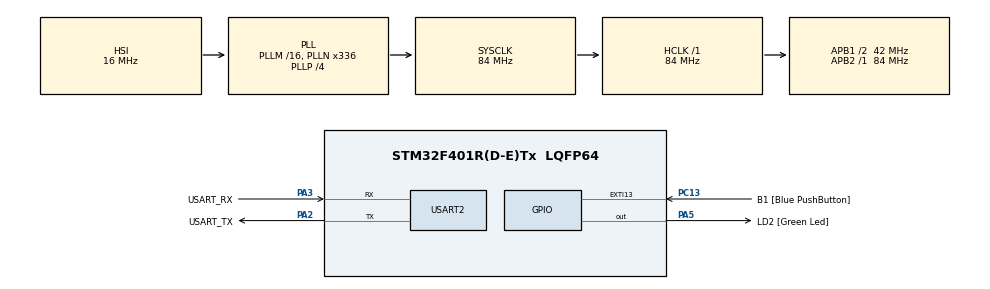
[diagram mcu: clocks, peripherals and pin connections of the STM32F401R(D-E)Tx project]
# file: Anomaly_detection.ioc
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Mcu.Family=STM32F4
Mcu.Name=STM32F401R(D-E)Tx
Mcu.Package=LQFP64
NVIC.PriorityGroup=NVIC_PRIORITYGROUP_0
PA13.GPIO_Label=TMS
PA13.Mode=Serial_Wire
PA13.Signal=SYS_JTMS-SWDIO
PA14.GPIO_Label=TCK
PA14.Mode=Serial_Wire
PA14.Signal=SYS_JTCK-SWCLK
PA2.GPIO_Label=USART_TX
PA2.GPIO_Mode=GPIO_MODE_AF_PP
PA2.GPIO_PuPd=GPIO_NOPULL
PA2.GPIO_Speed=GPIO_SPEED_FREQ_LOW
PA2.Mode=Asynchronous
PA2.Signal=USART2_TX
PA3.GPIO_Label=USART_RX
PA3.GPIO_Mode=GPIO_MODE_AF_PP
PA3.GPIO_PuPd=GPIO_NOPULL
PA3.GPIO_Speed=GPIO_SPEED_FREQ_LOW
PA3.Mode=Asynchronous
PA3.Signal=USART2_RX
PA5.GPIO_Label=LD2 [Green Led]
PA5.GPIO_Mode=GPIO_MODE_OUTPUT_PP
PA5.GPIO_PuPd=GPIO_NOPULL
PA5.GPIO_Speed=GPIO_SPEED_FREQ_LOW
PA5.Signal=GPIO_Output
PB3.GPIO_Label=SWO
PB3.Signal=SYS_JTDO-SWO
PC13-ANTI_TAMP.GPIO_Label=B1 [Blue PushButton]
PC13-ANTI_TAMP.GPIO_ModeDefaultEXTI=GPIO_MODE_IT_FALLING
PC13-ANTI_TAMP.GPIO_PuPd=GPIO_NOPULL
PC13-ANTI_TAMP.Signal=GPXTI13
PC14-OSC32_IN.Mode=LSE-External-Oscillator
PC14-OSC32_IN.Signal=RCC_OSC32_IN
PC15-OSC32_OUT.Mode=LSE-External-Oscillator
PC15-OSC32_OUT.Signal=RCC_OSC32_OUT
PH0\ -\ OSC_IN.Mode=HSE-External-Clock-Source
PH0\ -\ OSC_IN.Signal=RCC_OSC_IN
PH1\ -\ OSC_OUT.Mode=HSE-External-Clock-Source
PH1\ -\ OSC_OUT.Signal=RCC_OSC_OUT
ProjectManager.HeapSize=0x200
ProjectManager.StackSize=0x800
ProjectManager.TargetToolchain=STM32CubeIDE
RCC.48MHZClocksFreq_Value=48000000
RCC.AHBFreq_Value=84000000
RCC.APB1CLKDivider=RCC_HCLK_DIV2
RCC.APB1Freq_Value=42000000
RCC.APB1TimFreq_Value=84000000
RCC.APB2Freq_Value=84000000
RCC.APB2TimFreq_Value=84000000
RCC.CortexFreq_Value=84000000
RCC.HCLKFreq_Value=84000000
RCC.HSE_VALUE=8000000
RCC.HSI_VALUE=16000000
RCC.PLLN=336
RCC.PLLP=RCC_PLLP_DIV4
RCC.PLLQ=7
RCC.SYSCLKFreq_VALUE=84000000
RCC.SYSCLKSource=RCC_SYSCLKSOURCE_PLLCLK
RCC.VCOOutputFreq_Value=336000000
STMicroelectronics.X-CUBE-AI.5.2.0.ActivationBufferSizeList=1852
STMicroelectronics.X-CUBE-AI.5.2.0.ApplicationCcArtificialOoIntelligenceJjApplication=SystemPerformance
STMicroelectronics.X-CUBE-AI.5.2.0.BSP.number=1
STMicroelectronics.X-CUBE-AI.5.2.0.HeapSize=0x200
STMicroelectronics.X-CUBE-AI.5.2.0.InternalRamActivationBufferMaxSize=AI_ANOMALY_DETECTION_DATA_ACTIVATIONS_SIZE
STMicroelectronics.X-CUBE-AI.5.2.0.LatestDirectoryUsed-6243a9f9f6e617348e6f7ee6339f6cb630602b1dfc26b6ff4e4b7e315416e31a=/home/mahdi/ML_Exercice
STMicroelectronics.X-CUBE-AI.5.2.0.MaximumNumberOfInputLayer=1
STMicroelectronics.X-CUBE-AI.5.2.0.MaximumNumberOfOutputLayer=1
STMicroelectronics.X-CUBE-AI.5.2.0.MaximumSizeOfInputLayer=AI_ANOMALY_DETECTION_IN_1_SIZE_BYTES
STMicroelectronics.X-CUBE-AI.5.2.0.MaximumSizeOfOutputLayer=AI_ANOMALY_DETECTION_OUT_1_SIZE_BYTES
STMicroelectronics.X-CUBE-AI.5.2.0.ModelActualCompression-6243a9f9f6e617348e6f7ee6339f6cb630602b1dfc26b6ff4e4b7e315416e31a=0.0
STMicroelectronics.X-CUBE-AI.5.2.0.ModelCompression-6243a9f9f6e617348e6f7ee6339f6cb630602b1dfc26b6ff4e4b7e315416e31a=1
STMicroelectronics.X-CUBE-AI.5.2.0.ModelFlashOccupation-6243a9f9f6e617348e6f7ee6339f6cb630602b1dfc26b6ff4e4b7e315416e31a=182276
STMicroelectronics.X-CUBE-AI.5.2.0.ModelHashList=6243a9f9f6e617348e6f7ee6339f6cb630602b1dfc26b6ff4e4b7e315416e31a
STMicroelectronics.X-CUBE-AI.5.2.0.ModelKind-6243a9f9f6e617348e6f7ee6339f6cb630602b1dfc26b6ff4e4b7e315416e31a=KERAS
STMicroelectronics.X-CUBE-AI.5.2.0.ModelMacc-6243a9f9f6e617348e6f7ee6339f6cb630602b1dfc26b6ff4e4b7e315416e31a=45568
STMicroelectronics.X-CUBE-AI.5.2.0.ModelName-6243a9f9f6e617348e6f7ee6339f6cb630602b1dfc26b6ff4e4b7e315416e31a=anomaly_detection
STMicroelectronics.X-CUBE-AI.5.2.0.ModelNameList=anomaly_detection
STMicroelectronics.X-CUBE-AI.5.2.0.ModelRamOccupation-6243a9f9f6e617348e6f7ee6339f6cb630602b1dfc26b6ff4e4b7e315416e31a=1852
STMicroelectronics.X-CUBE-AI.5.2.0.ModelStructureFile-6243a9f9f6e617348e6f7ee6339f6cb630602b1dfc26b6ff4e4b7e315416e31a=/home/mahdi/ML_Exercice/model_fc.h5
STMicroelectronics.X-CUBE-AI.5.2.0.ModelType-6243a9f9f6e617348e6f7ee6339f6cb630602b1dfc26b6ff4e4b7e315416e31a=Saved model
STMicroelectronics.X-CUBE-AI.5.2.0.StackSize=0x800
STMicroelectronics.X-CUBE-AI.5.2.0.WorkingBufferStartAddrList=0xFFFFFFFF
STMicroelectronics.X-CUBE-AI.5.2.0.XAaCUBEAaAICcArtificialOoIntelligenceJjCore=true
STMicroelectronics.X-CUBE-AI.5.2.00.BSP.STBoard=false
STMicroelectronics.X-CUBE-AI.5.2.00.BSP.api=Unknown
STMicroelectronics.X-CUBE-AI.5.2.00.BSP.condition=\!SEMArtificialOoIntelligenceJjApplicationJjApplicationTemplate
STMicroelectronics.X-CUBE-AI.5.2.00.BSP.i2caddr=-1
STMicroelectronics.X-CUBE-AI.5.2.00.BSP.instance=USART2
STMicroelectronics.X-CUBE-AI.5.2.00.BSP.ip=USART
STMicroelectronics.X-CUBE-AI.5.2.00.BSP.mode=Asynchronous
STMicroelectronics.X-CUBE-AI.5.2.00.BSP.name=COM Port
STMicroelectronics.X-CUBE-AI.5.2.00.BSP.solution=USART2
USART2.VirtualMode=VM_ASYNC
VP_CRC_VS_CRC.Mode=CRC_Activate
VP_STMicroelectronics.X-CUBE-AI_VS_ArtificialOoIntelligenceJjApplication_5.2.0.Mode=ArtificialOoIntelligenceJjApplication
VP_STMicroelectronics.X-CUBE-AI_VS_ArtificialOoIntelligenceJjXAaCUBEAaAI_5.2.0.Mode=ArtificialOoIntelligenceJjXAaCUBEAaAI
board=NUCLEO-F401RE

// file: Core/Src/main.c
/* USER CODE BEGIN Header */
/**
  ******************************************************************************
  * @file           : main.c
  * @brief          : Main program body
  ******************************************************************************
  * @attention
  *
  * <h2><center>&copy; Copyright (c) 2021 STMicroelectronics.
  * All rights reserved.</center></h2>
  *
  * This software component is licensed by ST under BSD 3-Clause license,
  * the "License"; You may not use this file except in compliance with the
  * License. You may obtain a copy of the License at:
  *                        opensource.org/licenses/BSD-3-Clause
  *
  ******************************************************************************
  */
/* USER CODE END Header */
#include "main.h"
#include "app_x-cube-ai.h"

#include "ai_platform.h"
#include "ai_platform_interface.h"
#include "anomaly_detection.h"
#include "anomaly_detection_data.h"

#include <stdio.h>
#include "string.h"

#include <activation1.h>

CRC_HandleTypeDef hcrc;

UART_HandleTypeDef huart2;

void SystemClock_Config(void);
static void MX_GPIO_Init(void);
void MX_USART2_UART_Init(void);
static void MX_CRC_Init(void);

int main(void)
{
  /* USER CODE BEGIN 1 */
	int true_labels[6]={1,1,0,0,0,0};
	char buf[60];
	int buf_len = 0;

	ai_i32 nbatch;

	ai_error ai_err;

	// Pointer to our model
	ai_handle anomaly_det_model = AI_HANDLE_NULL;

	//global buffer to handle the activations data buffer -R/W data
	AI_ALIGNED(4) static ai_u8 activations[AI_ANOMALY_DETECTION_DATA_ACTIVATIONS_SIZE];

	/* initialize network */
	const ai_network_params params = {
		AI_ANOMALY_DETECTION_DATA_WEIGHTS(ai_anomaly_detection_data_weights_get()),
		AI_ANOMALY_DETECTION_DATA_ACTIVATIONS(activations) };

	// Initialize wrapper structs that hold pointers to data and info about the
	// data (tensor height, width, channels)
	static ai_buffer ai_input[ AI_ANOMALY_DETECTION_IN_NUM] = AI_ANOMALY_DETECTION_IN;
	static ai_buffer ai_output[AI_ANOMALY_DETECTION_OUT_NUM] = AI_ANOMALY_DETECTION_OUT;

	AI_ALIGNED(4) ai_float in_data [270];
	AI_ALIGNED(4) ai_float out_data[1];

	// Set pointers wrapper structs to our data buffers
	ai_input[0].n_batches = 1;
	ai_input[0].data = AI_HANDLE_PTR(in_data);
	ai_output[0].n_batches = 1;
	ai_output[0].data = AI_HANDLE_PTR(out_data);

  /* USER CODE END 1 */

  /* MCU Configuration--------------------------------------------------------*/

  /* Reset of all peripherals, Initializes the Flash interface and the Systick. */
  HAL_Init();

  /* Configure the system clock */
  SystemClock_Config();

  /* Initialize all configured peripherals */
  MX_GPIO_Init();
  MX_USART2_UART_Init();
  MX_CRC_Init();
  MX_X_CUBE_AI_Init();
  /* USER CODE BEGIN 2 */

  buf_len = sprintf(buf, "\r\n\r\nSTM32 Anomaly Detection model test\r\n");
  HAL_UART_Transmit(&huart2, (uint8_t *)buf, buf_len, 100);

  // Create instance of neural network
  ai_err = ai_anomaly_detection_create(&anomaly_det_model, AI_ANOMALY_DETECTION_DATA_CONFIG);
  if (ai_err.type != AI_ERROR_NONE)
  {
     buf_len = sprintf(buf, "Error: could not create NN instance\r\n");
     HAL_UART_Transmit(&huart2, (uint8_t *)buf, buf_len, 100);
     while(1);
   }

  // Initialize neural network
  if (!ai_anomaly_detection_init(anomaly_det_model, &params))
  {
    buf_len = sprintf(buf, "Error: could not initialize NN\r\n");
    HAL_UART_Transmit(&huart2, (uint8_t *)buf, buf_len, 100);
    while(1);
  }
  ;
  for (uint8_t k=0; k<6 ; k++){
	  for (uint16_t j = 0; j<270 ; j++){
			 in_data[j] =  (ai_float)activation[270*k+j];
	   }
	  nbatch = ai_anomaly_detection_run(anomaly_det_model, &ai_input[0], &ai_output[0]);
		  if (nbatch != 1) {
				buf_len = sprintf(buf, "Error: could not run inference\r\n");
				HAL_UART_Transmit(&huart2, (uint8_t *)buf, buf_len, 100);
		  }

		  if (true_labels[k]==0){

			  buf_len = sprintf(buf,"This activation is a normal activation\r\n");
			  HAL_UART_Transmit(&huart2, (uint8_t *)buf, buf_len, 100);
		  }else{
				  buf_len = sprintf(buf,"This activation is an anomolous activation\r\n");
				  HAL_UART_Transmit(&huart2, (uint8_t *)buf, buf_len, 100);
			  }

		  buf_len = sprintf(buf,"The model output is %f \r\n",(float)out_data[0]);
		  HAL_UART_Transmit(&huart2, (uint8_t *)buf, buf_len, 100);
		  if(1-(float)out_data[0]>0.5){
			  buf_len = sprintf(buf,"The model predicted this activation to be normal");
			  HAL_UART_Transmit(&huart2, (uint8_t *)buf, buf_len, 100);
		  }else{
			  buf_len = sprintf(buf,"The model predicted this activation to be anomalous");
			  HAL_UART_Transmit(&huart2, (uint8_t *)buf, buf_len, 100);
		  }
			  buf_len = sprintf(buf, "\r\n\r\n");
			  HAL_UART_Transmit(&huart2, (uint8_t *)buf, buf_len, 100);
  }

  /* USER CODE END 2 */

  /* Infinite loop */
  /* USER CODE BEGIN WHILE */
  while (1)
  {

	  // Wait before doing it again
	  HAL_Delay(500);
    /* USER CODE END WHILE */

  //MX_X_CUBE_AI_Process();
  }
}

void SystemClock_Config(void)
{
  RCC_OscInitTypeDef RCC_OscInitStruct = {0};
  RCC_ClkInitTypeDef RCC_ClkInitStruct = {0};

  /** Configure the main internal regulator output voltage
  */
  __HAL_RCC_PWR_CLK_ENABLE();
  __HAL_PWR_VOLTAGESCALING_CONFIG(PWR_REGULATOR_VOLTAGE_SCALE2);
  /** Initializes the RCC Oscillators according to the specified parameters
  * in the RCC_OscInitTypeDef structure.
  */
  RCC_OscInitStruct.OscillatorType = RCC_OSCILLATORTYPE_HSI;
  RCC_OscInitStruct.HSIState = RCC_HSI_ON;
  RCC_OscInitStruct.HSICalibrationValue = RCC_HSICALIBRATION_DEFAULT;
  RCC_OscInitStruct.PLL.PLLState = RCC_PLL_ON;
  RCC_OscInitStruct.PLL.PLLSource = RCC_PLLSOURCE_HSI;
  RCC_OscInitStruct.PLL.PLLM = 16;
  RCC_OscInitStruct.PLL.PLLN = 336;
  RCC_OscInitStruct.PLL.PLLP = RCC_PLLP_DIV4;
  RCC_OscInitStruct.PLL.PLLQ = 7;
  if (HAL_RCC_OscConfig(&RCC_OscInitStruct) != HAL_OK)
  {
    Error_Handler();
  }
  /** Initializes the CPU, AHB and APB buses clocks
  */
  RCC_ClkInitStruct.ClockType = RCC_CLOCKTYPE_HCLK|RCC_CLOCKTYPE_SYSCLK
                              |RCC_CLOCKTYPE_PCLK1|RCC_CLOCKTYPE_PCLK2;
  RCC_ClkInitStruct.SYSCLKSource = RCC_SYSCLKSOURCE_PLLCLK;
  RCC_ClkInitStruct.AHBCLKDivider = RCC_SYSCLK_DIV1;
  RCC_ClkInitStruct.APB1CLKDivider = RCC_HCLK_DIV2;
  RCC_ClkInitStruct.APB2CLKDivider = RCC_HCLK_DIV1;

  if (HAL_RCC_ClockConfig(&RCC_ClkInitStruct, FLASH_LATENCY_2) != HAL_OK)
  {
    Error_Handler();
  }
}

static void MX_CRC_Init(void)
{

  hcrc.Instance = CRC;
  if (HAL_CRC_Init(&hcrc) != HAL_OK)
  {
    Error_Handler();
  }

}

void MX_USART2_UART_Init(void)
{

  huart2.Instance = USART2;
  huart2.Init.BaudRate = 115200;
  huart2.Init.WordLength = UART_WORDLENGTH_8B;
  huart2.Init.StopBits = UART_STOPBITS_1;
  huart2.Init.Parity = UART_PARITY_NONE;
  huart2.Init.Mode = UART_MODE_TX_RX;
  huart2.Init.HwFlowCtl = UART_HWCONTROL_NONE;
  huart2.Init.OverSampling = UART_OVERSAMPLING_16;
  if (HAL_UART_Init(&huart2) != HAL_OK)
  {
    Error_Handler();
  }

}

static void MX_GPIO_Init(void)
{
  GPIO_InitTypeDef GPIO_InitStruct = {0};

  /* GPIO Ports Clock Enable */
  __HAL_RCC_GPIOC_CLK_ENABLE();
  __HAL_RCC_GPIOH_CLK_ENABLE();
  __HAL_RCC_GPIOA_CLK_ENABLE();
  __HAL_RCC_GPIOB_CLK_ENABLE();

  /*Configure GPIO pin Output Level */
  HAL_GPIO_WritePin(LD2_GPIO_Port, LD2_Pin, GPIO_PIN_RESET);

  /*Configure GPIO pin : B1_Pin */
  GPIO_InitStruct.Pin = B1_Pin;
  GPIO_InitStruct.Mode = GPIO_MODE_IT_FALLING;
  GPIO_InitStruct.Pull = GPIO_NOPULL;
  HAL_GPIO_Init(B1_GPIO_Port, &GPIO_InitStruct);

  /*Configure GPIO pin : LD2_Pin */
  GPIO_InitStruct.Pin = LD2_Pin;
  GPIO_InitStruct.Mode = GPIO_MODE_OUTPUT_PP;
  GPIO_InitStruct.Pull = GPIO_NOPULL;
  GPIO_InitStruct.Speed = GPIO_SPEED_FREQ_LOW;
  HAL_GPIO_Init(LD2_GPIO_Port, &GPIO_InitStruct);

}

void Error_Handler(void)
{
  __disable_irq();
  while (1)
  {
  }
}

/************************ (C) COPYRIGHT STMicroelectronics *****END OF FILE****/
